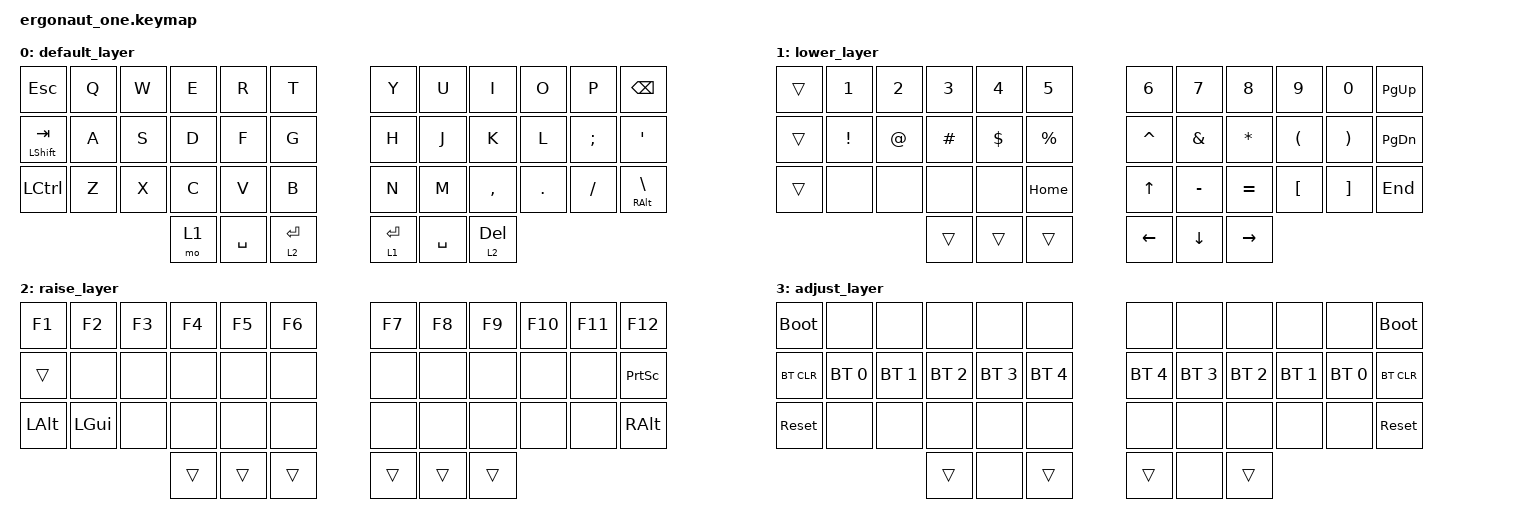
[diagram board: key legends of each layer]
#include <behaviors.dtsi>
#include <dt-bindings/zmk/bt.h>
#include <dt-bindings/zmk/keys.h>

#define DEF 0
#define LWR 1
#define RSE 2
#define ADJ 3

&lt { quick-tap-ms = <200>; };

&mt { quick-tap-ms = <200>; };

/ {
    conditional_layers {
        compatible = "zmk,conditional-layers";

        tri-layer {
            if-layers = <1 2>;
            then-layer = <3>;
        };
    };

    combos {
        compatible = "zmk,combos";

        toggle_layer_raise_layer {
            bindings = <&tog 2>;
            key-positions = <38 41>;
        };
    };

    keymap {
        compatible = "zmk,keymap";

        default_layer {
            bindings = <
&kp ESC         &kp Q  &kp W  &kp E  &kp R      &kp T        &kp Y        &kp U      &kp I         &kp O    &kp P     &kp BACKSPACE
&mt LSHIFT TAB  &kp A  &kp S  &kp D  &kp F      &kp G        &kp H        &kp J      &kp K         &kp L    &kp SEMI  &kp APOS
&kp LCTRL       &kp Z  &kp X  &kp C  &kp V      &kp B        &kp N        &kp M      &kp COMMA     &kp DOT  &kp FSLH  &mt RALT BSLH
                              &mo 1  &kp SPACE  &lt 2 ENTER  &lt 1 ENTER  &kp SPACE  &lt 2 DELETE
            >;
        };

        lower_layer {
            bindings = <
&trans  &kp NUMBER_1  &kp NUMBER_2  &kp NUMBER_3  &kp NUMBER_4  &kp N5     &kp NUMBER_6    &kp N7          &kp N8           &kp N9            &kp N0             &kp PAGE_UP
&trans  &kp EXCL      &kp AT        &kp HASH      &kp DLLR      &kp PRCNT  &kp CARET       &kp AMPS        &kp STAR         &kp LPAR          &kp RPAR           &kp PAGE_DOWN
&trans  &none         &none         &none         &none         &kp HOME   &kp UP_ARROW    &kp MINUS       &kp EQUAL        &kp LEFT_BRACKET  &kp RIGHT_BRACKET  &kp END
                                    &trans        &trans        &trans     &kp LEFT_ARROW  &kp DOWN_ARROW  &kp RIGHT_ARROW
            >;
        };

        raise_layer {
            bindings = <
&kp F1    &kp F2        &kp F3  &kp F4  &kp F5  &kp F6  &kp F7  &kp F8  &kp F9  &kp F10  &kp F11  &kp F12
&trans    &none         &none   &none   &none   &none   &none   &none   &none   &none    &none    &kp PRINTSCREEN
&kp LALT  &kp LEFT_GUI  &none   &none   &none   &none   &none   &none   &none   &none    &none    &kp RALT
                                &trans  &trans  &trans  &trans  &trans  &trans
            >;
        };

        adjust_layer {
            bindings = <
&bootloader  &none         &none         &none         &none         &none         &none         &none         &none         &none         &none         &bootloader
&bt BT_CLR   &bt BT_SEL 0  &bt BT_SEL 1  &bt BT_SEL 2  &bt BT_SEL 3  &bt BT_SEL 4  &bt BT_SEL 4  &bt BT_SEL 3  &bt BT_SEL 2  &bt BT_SEL 1  &bt BT_SEL 0  &bt BT_CLR
&sys_reset   &none         &none         &none         &none         &none         &none         &none         &none         &none         &none         &sys_reset
                                         &trans        &none         &trans        &trans        &none         &trans
            >;
        };
    };
};
